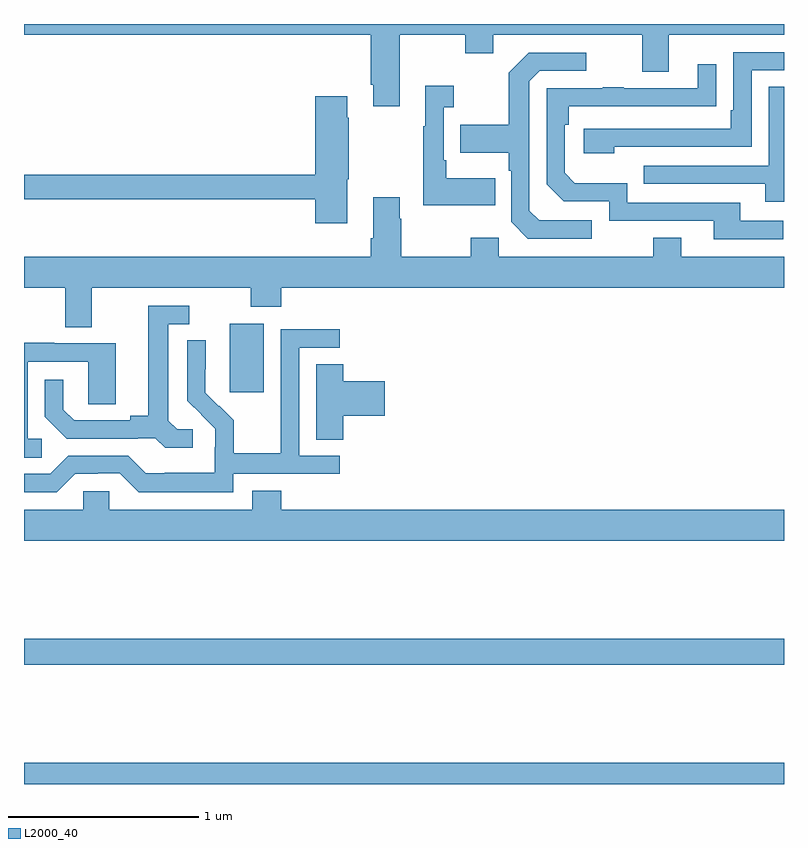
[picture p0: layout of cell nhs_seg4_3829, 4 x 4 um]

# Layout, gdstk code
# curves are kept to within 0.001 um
import gdstk
lib = gdstk.Library(unit=1e-6, precision=1e-09)
def R(c, l, rs):  # rectangles x0, y0, x1, y1
    for r in rs: c.add(gdstk.rectangle(r[:2], r[2:], *l))
def P(c, l, *ps):  # polygons
    for p in ps: c.add(gdstk.Polygon(p, *l))
L2000_40 = (2000, 40)

nhs_seg4_3829 = lib.new_cell('nhs_seg4_3829')
R(nhs_seg4_3829, L2000_40, [(313,768.9,317,769.012), (313,769.528,317,769.664), (314.084,770.961,314.263,771.322)])
P(nhs_seg4_3829, L2000_40, [(314.977,772.844),(315.322,772.844),(315.322,772.745),(315.469,772.745),(315.469,772.844),(316.253,772.844),(316.253,772.65),(316.393,772.65),(316.393,772.844),(317,772.844),(317,772.9),(313,772.9),(313,772.844),(314.825,772.844),(314.825,772.579),(314.837,772.579),(314.837,772.467),(314.977,772.467)],
  [(316.106,772.254),(316.83,772.254),(316.83,772.656),(317,772.656),(317,772.752),(316.734,772.752),(316.734,772.447),(316.721,772.447),(316.721,772.35),(315.945,772.35),(315.945,772.22),(316.106,772.22)],
  [(315.988,771.867),(315.711,771.867),(315.66,771.918),(315.66,772.599),(315.714,772.653),(315.958,772.653),(315.958,772.749),(315.657,772.749),(315.552,772.643),(315.552,772.371),(315.295,772.371),(315.295,772.223),(315.552,772.223),(315.552,772.127),(315.564,772.127),(315.564,771.858),(315.651,771.771),(315.988,771.771)],
  [(316.996,771.864),(316.771,771.864),(316.771,771.96),(316.176,771.96),(316.176,772.063),(315.899,772.063),(315.846,772.116),(315.846,772.37),(315.866,772.37),(315.866,772.467),(316.643,772.468),(316.643,772.687),(316.547,772.687),(316.547,772.563),(316.157,772.563),(316.157,772.568),(316.045,772.568),(316.045,772.563),(315.75,772.563),(315.75,772.056),(315.84,771.966),(316.08,771.966),(316.08,771.864),(316.631,771.864),(316.631,771.768),(316.996,771.768)],
  [(315.479,772.087),(315.223,772.087),(315.223,772.183),(315.21,772.183),(315.21,772.463),(315.262,772.463),(315.262,772.576),(315.113,772.576),(315.113,772.363),(315.102,772.363),(315.102,771.947),(315.479,771.947)],
  [(317,772.571),(316.92,772.571),(316.92,772.155),(316.261,772.155),(316.261,772.059),(316.901,772.059),(316.901,771.965),(317,771.965)],
  [(314.701,772.083),(314.709,772.083),(314.709,772.406),(314.701,772.406),(314.701,772.519),(314.534,772.519),(314.534,772.106),(313,772.106),(313,771.978),(314.534,771.978),(314.534,771.852),(314.701,771.852)],
  [(313.357,771.512),(314.194,771.512),(314.194,771.413),(314.354,771.413),(314.354,771.512),(317,771.512),(317,771.676),(316.459,771.676),(316.459,771.775),(316.312,771.775),(316.312,771.676),(315.498,771.676),(315.498,771.775),(315.352,771.775),(315.352,771.676),(314.985,771.676),(314.985,771.875),(314.977,771.875),(314.977,771.988),(314.837,771.988),(314.837,771.772),(314.825,771.772),(314.825,771.676),(313,771.676),(313,771.512),(313.217,771.512),(313.217,771.304),(313.357,771.304)],
  [(313.888,770.766),(313.806,770.766),(313.759,770.813),(313.759,771.321),(313.87,771.321),(313.87,771.417),(313.655,771.417),(313.655,770.837),(313.559,770.837),(313.559,770.814),(313.264,770.814),(313.207,770.871),(313.207,771.028),(313.11,771.028),(313.11,770.834),(313.226,770.718),(313.598,770.718),(313.598,770.721),(313.692,770.721),(313.744,770.669),(313.888,770.669)],
  [(314.1,770.532),(314.662,770.532),(314.662,770.628),(314.448,770.628),(314.448,771.195),(314.662,771.195),(314.662,771.294),(314.352,771.294),(314.352,770.864),(314.35,770.864),(314.35,770.641),(314.105,770.641),(314.105,770.815),(314.028,770.892),(314.025,770.889),(313.955,770.96),(313.956,771.236),(313.86,771.236),(313.86,770.918),(314.006,770.77),(314.006,770.673),(314.004,770.673),(314.004,770.539),(313.741,770.539),(313.741,770.535),(313.641,770.535),(313.548,770.628),(313.233,770.628),(313.137,770.532),(313,770.532),(313,770.436),(313.173,770.436),(313.269,770.532),(313.388,770.532),(313.388,770.535),(313.503,770.535),(313.603,770.435),(314.1,770.435)],
  [(313.093,770.718),(313.02,770.718),(313.02,771.123),(313.338,771.123),(313.338,770.899),(313.483,770.899),(313.483,771.219),(313.159,771.219),(313.159,771.223),(313,771.223),(313,770.617),(313.093,770.617)],
  [(314.681,770.837),(314.899,770.837),(314.899,771.02),(314.681,771.02),(314.681,771.11),(314.537,771.11),(314.537,770.713),(314.681,770.713)],
  [(317,770.344),(314.354,770.344),(314.354,770.443),(314.201,770.443),(314.201,770.344),(313.449,770.344),(313.449,770.442),(313.311,770.442),(313.311,770.344),(313,770.344),(313,770.18),(317,770.18)])

lib.write_gds('nhs_seg4_3829.gds')
